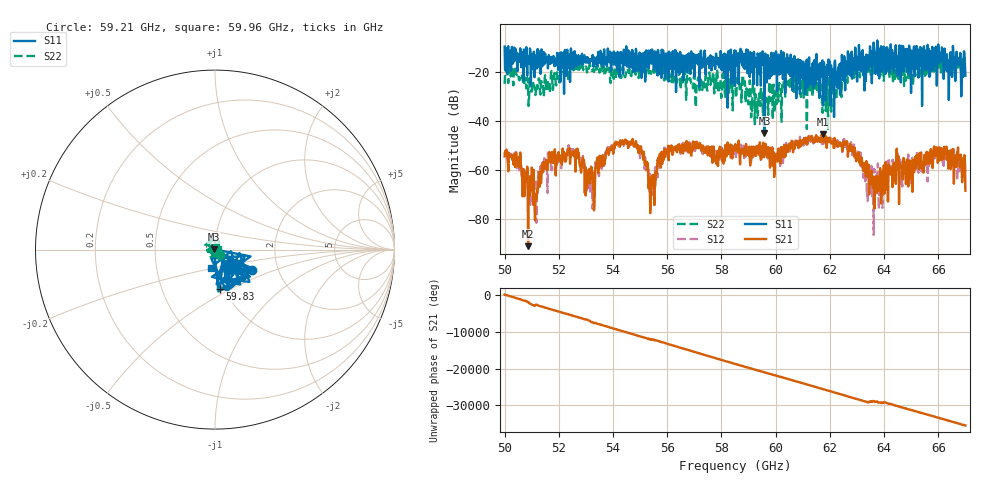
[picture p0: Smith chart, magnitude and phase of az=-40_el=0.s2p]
!Created with skrf (http://scikit-rf.org).
# GHz S RI R 50.0
!freq ReS11 ImS11 ReS21 ImS21 ReS12 ImS12 ReS22 ImS22
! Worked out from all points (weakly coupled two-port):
!   1001 points, 50 GHz to 67 GHz, reference 50 ohm
!   highest |S21| = -45.45 dB at 61.75 GHz (marker M1); lowest = -91.0 dB at 50.87 GHz (marker M2)
!   lowest |S11| = -44.8 dB at 59.59 GHz (marker M3), VSWR 1.01, Z = 49.4 + j0.147 ohm
!   |S11| at or under -10 dB: 50.8 GHz to 54.49 GHz (3.686 GHz wide, 7 % of centre); 54.49 GHz to 63.07 GHz (8.58 GHz wide, 14.6 % of centre); 66.01 GHz to 66.54 GHz (529 MHz wide, 0.798 % of centre) (the widest 3 of 27)
!   |S22| runs from -43.2 to -13.9 dB; largest |S21 - S12| = 0.0021
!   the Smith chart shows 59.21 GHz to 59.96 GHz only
!   S11 on the Smith chart (normalised r, x): 59.21 GHz: 1.46, -0.34; 59.83 GHz: 0.96, -0.44; 59.96 GHz: 0.93, -0.19
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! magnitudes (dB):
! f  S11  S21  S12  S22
! 50 GHz  -9.7  -54.4  -53.6  -24.9
! 50.87 GHz  -13.7  -91.0  -72.3  -25.5
! 51.14 GHz  -13.3  -73.1  -65.9  -29.4
! 51.73 GHz  -15.4  -56.6  -57.7  -19.6
! 52.84 GHz  -13.4  -58.4  -59.3  -19.0
! 53.23 GHz  -14.3  -60.2  -61.6  -19.3
! 53.84 GHz  -15.8  -53.8  -53.0  -18.3
! 54.78 GHz  -17.2  -50.4  -49.3  -19.7
! 55.46 GHz  -16.1  -62.0  -66.6  -19.7
! 55.68 GHz  -13.8  -54.8  -55.6  -21.1
! 58.5 GHz  -25.7  -51.8  -50.2  -23.9
! 59.21 GHz  -12.7  -51.4  -50.6  -27.3
! 59.59 GHz  -44.8  -53.5  -52.8  -32.2
! 59.83 GHz  -13.1  -53.1  -52.1  -31.8
! 59.96 GHz  -19.6  -60.3  -57.2  -36.5
! 61.34 GHz  -24.9  -48.0  -46.3  -26.6
! 61.75 GHz  -33.7  -45.5  -48.2  -25.9
! 62.82 GHz  -13.2  -51.6  -53.9  -22.8
! 63.43 GHz  -13.2  -57.8  -65.8  -18.1
! 64.18 GHz  -18.3  -59.8  -55.2  -19.1
! 66.27 GHz  -13.7  -53.2  -56.0  -16.8
! 67 GHz  -21.6  -68.4  -61.4  -16.1
